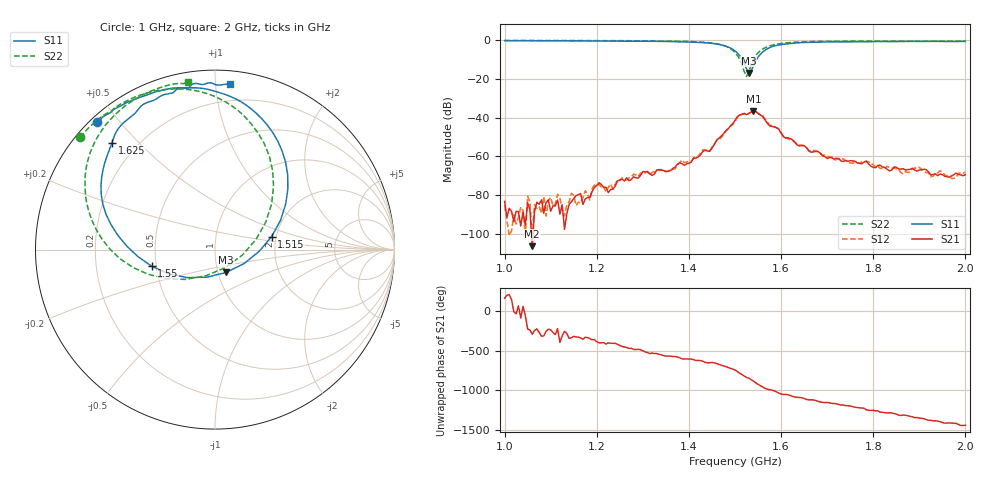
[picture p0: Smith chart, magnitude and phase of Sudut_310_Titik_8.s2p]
# Hz S RI R 50
! CMT, C1220, 16058040, 17.2.0/1
! Date: 14/08/2018 12:08:59
! Data: Format (Calibration Info)
! Freq  S11: Re/Im (F2)  S21: Re/Im (F2)  S12: Re/Im (F2)  S22: Re/Im (F2)
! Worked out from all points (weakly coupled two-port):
!   201 points, 1 GHz to 2 GHz, reference 50 ohm
!   highest |S21| = -36.68 dB at 1.54 GHz (marker M1); lowest = -106.3 dB at 1.06 GHz (marker M2)
!   lowest |S11| = -17.0 dB at 1.53 GHz (marker M3), VSWR 1.33, Z = 54.7 - j14.2 ohm
!   |S11| at or under -10 dB: 1.515 GHz to 1.547 GHz (31.38 MHz wide, 2.05 % of centre)
!   |S22| runs from -18.8 to -0.2 dB; largest |S21 - S12| = 0.00065
!   S11 on the Smith chart (normalised r, x): 1 GHz: 0.02, +0.44; 1.515 GHz: 1.89, +0.30; 1.55 GHz: 0.47, -0.10; 1.625 GHz: 0.11, +0.42; 2 GHz: 0.09, +1.09
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1e9  -0.6549 0.7098  -6.62e-05 2.06e-05  1.44e-05 -5.23e-05  -0.7534 0.6257
1.06e9  -0.5991 0.7538  1.82e-06 4.51e-06  8.4e-06 1.3e-06  -0.712 0.6702
1.17e9  -0.487 0.8218  5.76e-05 5.99e-06  8.18e-05 2.91e-05  -0.6161 0.7515
1.205e9  -0.4419 0.8389  0.000161 -0.000135  0.000151 -0.000115  -0.5798 0.7659
1.225e9  -0.4178 0.8485  8.87e-05 -7.68e-05  2.26e-05 -0.000157  -0.5661 0.7838
1.25e9  -0.3703 0.8647  6.53e-05 -0.00024  9.2e-05 -0.000224  -0.5356 0.8049
1.335e9  -0.2302 0.9002  -0.000454 3.73e-05  -0.000455 5.84e-05  -0.3997 0.8664
1.445e9  0.146 0.8233  0.000521 0.00125  0.000627 0.00124  -0.00699 0.8557
1.5e9  0.4059 0.3382  0.00781 -0.00328  0.00731 -0.0031  0.3264 0.3522
1.515e9  0.3153 0.0722  0.00197 -0.012  0.00225 -0.0121  0.2286 0.0568
1.525e9  0.162 -0.078  -0.00532 -0.0108  -0.00532 -0.0109  0.0577 -0.1
1.53e9  0.0622 -0.1273  -0.00761 -0.0103  -0.00762 -0.0104  -0.0511 -0.1459
1.54e9  -0.1537 -0.1562  -0.014 -0.00418  -0.0139 -0.00421  -0.2743 -0.1623
1.55e9  -0.3522 -0.093  -0.0118 0.00532  -0.012 0.00491  -0.4586 -0.0986
1.58e9  -0.6255 0.2557  0.000655 0.0059  0.000886 0.00605  -0.7042 0.216
1.625e9  -0.5738 0.5964  0.00268 0.00017  0.00256 0.000212  -0.7017 0.5206
1.67e9  -0.4632 0.7441  0.000981 -0.000872  0.00105 -0.000965  -0.6248 0.6734
1.835e9  -0.1613 0.8996  -0.000388 0.000174  -0.000457 0.000245  -0.3752 0.8749
1.925e9  -0.0341 0.9291  0.000153 0.000294  0.000124 0.000274  -0.249 0.9187
1.945e9  -0.00472 0.9223  0.000249 0.00025  0.000281 0.000321  -0.2189 0.9241
1.97e9  0.0363 0.9181  0.000282 0.000139  0.000259 7.95e-05  -0.1827 0.925
2e9  0.0853 0.9215  0.00034 -2.49e-07  0.000385 -6.61e-05  -0.1506 0.9335
